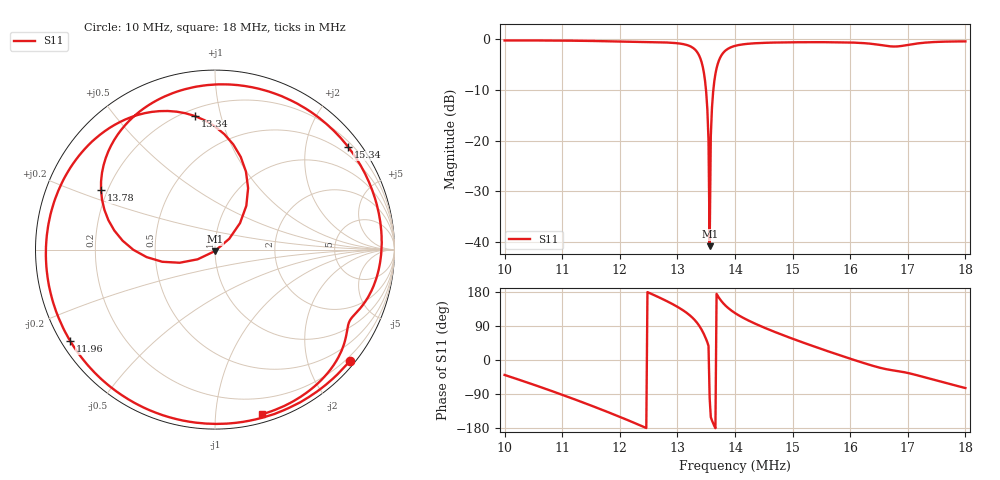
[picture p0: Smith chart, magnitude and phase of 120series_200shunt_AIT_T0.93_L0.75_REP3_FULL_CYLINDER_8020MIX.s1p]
! NanoVNA Web complex sweep
! Processing: original sample grid, no browser smoothing
# Hz S RI R 50
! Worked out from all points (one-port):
!   401 points, 10 MHz to 18 MHz, reference 50 ohm
!   lowest |S11| = -40.9 dB at 13.56 MHz (marker M1), VSWR 1.02, Z = 49.8 - j0.884 ohm
!   |S11| at or under -10 dB: 13.5 MHz to 13.62 MHz (128.1 kHz wide, 0.945 % of centre)
!   S11 on the Smith chart (normalised r, x): 10 MHz: 0.11, -2.78; 11.96 MHz: 0.03, -0.29; 13.34 MHz: 0.24, +0.83; 13.78 MHz: 0.17, +0.24; 15.34 MHz: 0.31, +2.92; 18 MHz: 0.06, -1.33
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1e7  0.7519 -0.6193
1.056e7  0.3636 -0.9029
1.1e7  -0.0303 -0.9704
1.148e7  -0.4667 -0.8436
1.196e7  -0.8055 -0.5111
1.2e7  -0.8258 -0.4754
1.254e7  -0.9368 0.0805
1.3e7  -0.7044 0.5832
1.322e7  -0.3924 0.76
1.334e7  -0.1105 0.7436
1.346e7  0.1724 0.4346
1.35e7  0.1745 0.2442
1.352e7  0.1393 0.1475
1.356e7  -0.00174 -0.00887
1.36e7  -0.1966 -0.0733
1.362e7  -0.2935 -0.0679
1.366e7  -0.4551 -0.00105
1.378e7  -0.6351 0.3311
1.4e7  -0.4807 0.7148
1.42e7  -0.2589 0.8625
1.444e7  0.00332 0.9199
1.5e7  0.5211 0.7756
1.534e7  0.7435 0.5697
1.6e7  0.9282 0.057
1.646e7  0.845 -0.2778
1.7e7  0.7277 -0.4945
1.754e7  0.5304 -0.7818
1.8e7  0.263 -0.9172
